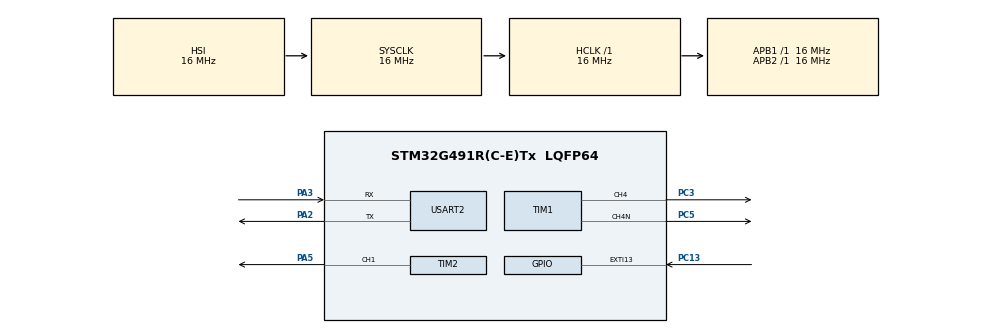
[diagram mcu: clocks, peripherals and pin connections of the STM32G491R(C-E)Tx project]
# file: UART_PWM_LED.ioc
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Mcu.Family=STM32G4
Mcu.Name=STM32G491R(C-E)Tx
Mcu.Package=LQFP64
NVIC.EXTI15_10_IRQn=true\:0\:0\:false\:false\:true\:true\:true\:true
NVIC.PriorityGroup=NVIC_PRIORITYGROUP_4
NVIC.USART2_IRQn=true\:0\:0\:false\:false\:true\:true\:true\:true
PA2.Mode=Asynchronous
PA2.Signal=USART2_TX
PA3.Mode=Asynchronous
PA3.Signal=USART2_RX
PA5.Signal=S_TIM2_CH1
PC13.GPIO_ModeDefaultEXTI=GPIO_MODE_IT_RISING
PC13.GPIO_PuPd=GPIO_PULLDOWN
PC13.Signal=GPXTI13
PC3.Signal=S_TIM1_CH4
PC5.Mode=PWM Generation4 CH4 CH4N
PC5.Signal=TIM1_CH4N
ProjectManager.HeapSize=0x200
ProjectManager.StackSize=0x400
ProjectManager.TargetToolchain=STM32CubeIDE
RCC.AHBFreq_Value=16000000
RCC.APB1Freq_Value=16000000
RCC.APB1TimFreq_Value=16000000
RCC.APB2Freq_Value=16000000
RCC.APB2TimFreq_Value=16000000
RCC.CortexFreq_Value=16000000
RCC.EXTERNAL_CLOCK_VALUE=12288000
RCC.HCLKFreq_Value=16000000
RCC.HSE_VALUE=8000000
RCC.HSI48_VALUE=48000000
RCC.HSI_VALUE=16000000
RCC.LSE_VALUE=32768
RCC.SYSCLKFreq_VALUE=16000000
RCC.VCOOutputFreq_Value=128000000
SH.S_TIM1_CH4.0=TIM1_CH4,PWM Generation4 CH4 CH4N
SH.S_TIM2_CH1.0=TIM2_CH1,PWM Generation1 CH1
TIM1.Channel-PWM\ Generation4\ CH4\ CH4N=TIM_CHANNEL_4
TIM2.AutoReloadPreload=TIM_AUTORELOAD_PRELOAD_ENABLE
TIM2.Channel-PWM\ Generation1\ CH1=TIM_CHANNEL_1
TIM2.PeriodNoDither=10000-1
TIM2.Prescaler=17-1
USART2.VirtualMode-Asynchronous=VM_ASYNC
VP_SYS_VS_DBSignals.Mode=DisableDeadBatterySignals
board=custom

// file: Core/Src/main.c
/* USER CODE BEGIN Header */
/**
  ******************************************************************************
  * @file           : main.c
  * @brief          : Main program body
  ******************************************************************************
  * @attention
  *
  * Copyright (c) 2025 STMicroelectronics.
  * All rights reserved.
  *
  * This software is licensed under terms that can be found in the LICENSE file
  * in the root directory of this software component.
  * If no LICENSE file comes with this software, it is provided AS-IS.
  *
  ******************************************************************************
  */
/* USER CODE END Header */
#include "main.h"

/* USER CODE BEGIN Includes */
#include <string.h>
#include <stdlib.h>
#include <stdio.h>
/* USER CODE END Includes */

/* USER CODE BEGIN PD */
#define RX_LINE_MAX 64
/* USER CODE END PD */

TIM_HandleTypeDef htim1;
TIM_HandleTypeDef htim2;

UART_HandleTypeDef huart2;

/* USER CODE BEGIN PV */
volatile uint8_t  rx_byte;
char  rx_line[RX_LINE_MAX];
volatile uint32_t rx_len = 0;
volatile uint8_t  rx_line_ready = 0;

volatile uint32_t pwm_duty = 0;  // duty cycle varijabla
/* USER CODE END PV */

void SystemClock_Config(void);
static void MX_GPIO_Init(void);
static void MX_TIM2_Init(void);
static void MX_USART2_UART_Init(void);
static void MX_TIM1_Init(void);

/* USER CODE BEGIN 0 */
static void UART_Start_RX_IT(void)
{
    HAL_UART_Receive_IT(&huart2, (uint8_t*)&rx_byte, 1);
}

void HAL_UART_RxCpltCallback(UART_HandleTypeDef *huart)
{
    if (huart == &huart2) {
        uint8_t b = rx_byte;

        if (b == '\r' || b == '\n') {
            if (rx_len < RX_LINE_MAX) rx_line[rx_len] = '\0';
            rx_line_ready = 1;
            rx_len = 0;
        } else {
            if (rx_len < RX_LINE_MAX - 1) rx_line[rx_len++] = (char)b;
            else rx_len = 0;
        }
        HAL_UART_Receive_IT(&huart2, &rx_byte, 1);
    }
}

void pwm_set_duty_percent(TIM_HandleTypeDef *htim, uint32_t channel, uint32_t pct)
{
    if (pct > 100) pct = 100;
    uint32_t arr = __HAL_TIM_GET_AUTORELOAD(htim);
    uint32_t ccr = ((arr + 1) * pct) / 100U;
    if (ccr > arr) ccr = arr;
    __HAL_TIM_SET_COMPARE(htim, channel, ccr);
}

void process_line(char *line)
{
    if (strncmp(line, "pwm", 3) == 0) {
        line += 3;
        while (*line == ' ' || *line == '\t') line++;
        int val = (*line) ? atoi(line) : -1;
        if (val < 0)   val = 0;
        if (val > 100) val = 100;

        pwm_duty = val;
        pwm_set_duty_percent(&htim2, TIM_CHANNEL_1, (uint32_t)val);

        char ack[32];
        int n = snprintf(ack, sizeof(ack), "OK pwm=%d%%\r\n", val);
        HAL_UART_Transmit(&huart2, (uint8_t*)ack, n, HAL_MAX_DELAY);
        return;
    }

    const char *err = "ERR: use 'pwm <0..100>'\r\n";
    HAL_UART_Transmit(&huart2, (uint8_t*)err, strlen(err), HAL_MAX_DELAY);
}

/* USER CODE END 0 */

int main(void)
{

  /* MCU Configuration--------------------------------------------------------*/

  /* Reset of all peripherals, Initializes the Flash interface and the Systick. */
  HAL_Init();

  /* Configure the system clock */
  SystemClock_Config();

  /* Initialize all configured peripherals */
  MX_GPIO_Init();
  MX_TIM2_Init();
  MX_USART2_UART_Init();
  MX_TIM1_Init();
  /* USER CODE BEGIN 2 */

  // Start PWM TImer - TIM2CH1
  HAL_TIM_PWM_Start(&htim2, TIM_CHANNEL_1);
  pwm_set_duty_percent(&htim2, TIM_CHANNEL_1, pwm_duty);

 UART_Start_RX_IT(); // Interrupt listening to UART

 // Test UART
 HAL_Delay(10); // Delay to debounce two executions of main
 const char *msg = "UART ready. Type 'pwm X' (X=0..100)\r\n";
 HAL_UART_Transmit(&huart2, (uint8_t*)msg, strlen(msg), HAL_MAX_DELAY);

  /* USER CODE END 2 */

  /* Infinite loop */
  while (1)
  {

    /* USER CODE BEGIN 3 */
	  if (rx_line_ready) {
	      __disable_irq();
	      char line[RX_LINE_MAX];
	      strncpy(line, rx_line, RX_LINE_MAX);
	      rx_line_ready = 0;
	      __enable_irq();

	      process_line(line);
	  }
  }
  /* USER CODE END 3 */
}

void SystemClock_Config(void)
{
  RCC_OscInitTypeDef RCC_OscInitStruct = {0};
  RCC_ClkInitTypeDef RCC_ClkInitStruct = {0};

  /** Configure the main internal regulator output voltage
  */
  HAL_PWREx_ControlVoltageScaling(PWR_REGULATOR_VOLTAGE_SCALE1);

  /** Initializes the RCC Oscillators according to the specified parameters
  * in the RCC_OscInitTypeDef structure.
  */
  RCC_OscInitStruct.OscillatorType = RCC_OSCILLATORTYPE_HSI;
  RCC_OscInitStruct.HSIState = RCC_HSI_ON;
  RCC_OscInitStruct.HSICalibrationValue = RCC_HSICALIBRATION_DEFAULT;
  RCC_OscInitStruct.PLL.PLLState = RCC_PLL_NONE;
  if (HAL_RCC_OscConfig(&RCC_OscInitStruct) != HAL_OK)
  {
    Error_Handler();
  }

  /** Initializes the CPU, AHB and APB buses clocks
  */
  RCC_ClkInitStruct.ClockType = RCC_CLOCKTYPE_HCLK|RCC_CLOCKTYPE_SYSCLK
                              |RCC_CLOCKTYPE_PCLK1|RCC_CLOCKTYPE_PCLK2;
  RCC_ClkInitStruct.SYSCLKSource = RCC_SYSCLKSOURCE_HSI;
  RCC_ClkInitStruct.AHBCLKDivider = RCC_SYSCLK_DIV1;
  RCC_ClkInitStruct.APB1CLKDivider = RCC_HCLK_DIV1;
  RCC_ClkInitStruct.APB2CLKDivider = RCC_HCLK_DIV1;

  if (HAL_RCC_ClockConfig(&RCC_ClkInitStruct, FLASH_LATENCY_0) != HAL_OK)
  {
    Error_Handler();
  }
}

static void MX_TIM1_Init(void)
{

  TIM_MasterConfigTypeDef sMasterConfig = {0};
  TIM_OC_InitTypeDef sConfigOC = {0};
  TIM_BreakDeadTimeConfigTypeDef sBreakDeadTimeConfig = {0};

  htim1.Instance = TIM1;
  htim1.Init.Prescaler = 0;
  htim1.Init.CounterMode = TIM_COUNTERMODE_UP;
  htim1.Init.Period = 65535;
  htim1.Init.ClockDivision = TIM_CLOCKDIVISION_DIV1;
  htim1.Init.RepetitionCounter = 0;
  htim1.Init.AutoReloadPreload = TIM_AUTORELOAD_PRELOAD_DISABLE;
  if (HAL_TIM_PWM_Init(&htim1) != HAL_OK)
  {
    Error_Handler();
  }
  sMasterConfig.MasterOutputTrigger = TIM_TRGO_RESET;
  sMasterConfig.MasterOutputTrigger2 = TIM_TRGO2_RESET;
  sMasterConfig.MasterSlaveMode = TIM_MASTERSLAVEMODE_DISABLE;
  if (HAL_TIMEx_MasterConfigSynchronization(&htim1, &sMasterConfig) != HAL_OK)
  {
    Error_Handler();
  }
  sConfigOC.OCMode = TIM_OCMODE_PWM1;
  sConfigOC.Pulse = 0;
  sConfigOC.OCPolarity = TIM_OCPOLARITY_HIGH;
  sConfigOC.OCNPolarity = TIM_OCNPOLARITY_HIGH;
  sConfigOC.OCFastMode = TIM_OCFAST_DISABLE;
  sConfigOC.OCIdleState = TIM_OCIDLESTATE_RESET;
  sConfigOC.OCNIdleState = TIM_OCNIDLESTATE_RESET;
  if (HAL_TIM_PWM_ConfigChannel(&htim1, &sConfigOC, TIM_CHANNEL_4) != HAL_OK)
  {
    Error_Handler();
  }
  sBreakDeadTimeConfig.OffStateRunMode = TIM_OSSR_DISABLE;
  sBreakDeadTimeConfig.OffStateIDLEMode = TIM_OSSI_DISABLE;
  sBreakDeadTimeConfig.LockLevel = TIM_LOCKLEVEL_OFF;
  sBreakDeadTimeConfig.DeadTime = 0;
  sBreakDeadTimeConfig.BreakState = TIM_BREAK_DISABLE;
  sBreakDeadTimeConfig.BreakPolarity = TIM_BREAKPOLARITY_HIGH;
  sBreakDeadTimeConfig.BreakFilter = 0;
  sBreakDeadTimeConfig.BreakAFMode = TIM_BREAK_AFMODE_INPUT;
  sBreakDeadTimeConfig.Break2State = TIM_BREAK2_DISABLE;
  sBreakDeadTimeConfig.Break2Polarity = TIM_BREAK2POLARITY_HIGH;
  sBreakDeadTimeConfig.Break2Filter = 0;
  sBreakDeadTimeConfig.Break2AFMode = TIM_BREAK_AFMODE_INPUT;
  sBreakDeadTimeConfig.AutomaticOutput = TIM_AUTOMATICOUTPUT_DISABLE;
  if (HAL_TIMEx_ConfigBreakDeadTime(&htim1, &sBreakDeadTimeConfig) != HAL_OK)
  {
    Error_Handler();
  }
  HAL_TIM_MspPostInit(&htim1);

}

static void MX_TIM2_Init(void)
{

  TIM_MasterConfigTypeDef sMasterConfig = {0};
  TIM_OC_InitTypeDef sConfigOC = {0};

  htim2.Instance = TIM2;
  htim2.Init.Prescaler = 17-1;
  htim2.Init.CounterMode = TIM_COUNTERMODE_UP;
  htim2.Init.Period = 9999;
  htim2.Init.ClockDivision = TIM_CLOCKDIVISION_DIV1;
  htim2.Init.AutoReloadPreload = TIM_AUTORELOAD_PRELOAD_ENABLE;
  if (HAL_TIM_PWM_Init(&htim2) != HAL_OK)
  {
    Error_Handler();
  }
  sMasterConfig.MasterOutputTrigger = TIM_TRGO_RESET;
  sMasterConfig.MasterSlaveMode = TIM_MASTERSLAVEMODE_DISABLE;
  if (HAL_TIMEx_MasterConfigSynchronization(&htim2, &sMasterConfig) != HAL_OK)
  {
    Error_Handler();
  }
  sConfigOC.OCMode = TIM_OCMODE_PWM1;
  sConfigOC.Pulse = 0;
  sConfigOC.OCPolarity = TIM_OCPOLARITY_HIGH;
  sConfigOC.OCFastMode = TIM_OCFAST_DISABLE;
  if (HAL_TIM_PWM_ConfigChannel(&htim2, &sConfigOC, TIM_CHANNEL_1) != HAL_OK)
  {
    Error_Handler();
  }
  HAL_TIM_MspPostInit(&htim2);

}

static void MX_USART2_UART_Init(void)
{

  huart2.Instance = USART2;
  huart2.Init.BaudRate = 115200;
  huart2.Init.WordLength = UART_WORDLENGTH_8B;
  huart2.Init.StopBits = UART_STOPBITS_1;
  huart2.Init.Parity = UART_PARITY_NONE;
  huart2.Init.Mode = UART_MODE_TX_RX;
  huart2.Init.HwFlowCtl = UART_HWCONTROL_NONE;
  huart2.Init.OverSampling = UART_OVERSAMPLING_16;
  huart2.Init.OneBitSampling = UART_ONE_BIT_SAMPLE_DISABLE;
  huart2.Init.ClockPrescaler = UART_PRESCALER_DIV1;
  huart2.AdvancedInit.AdvFeatureInit = UART_ADVFEATURE_NO_INIT;
  if (HAL_UART_Init(&huart2) != HAL_OK)
  {
    Error_Handler();
  }
  if (HAL_UARTEx_SetTxFifoThreshold(&huart2, UART_TXFIFO_THRESHOLD_1_8) != HAL_OK)
  {
    Error_Handler();
  }
  if (HAL_UARTEx_SetRxFifoThreshold(&huart2, UART_RXFIFO_THRESHOLD_1_8) != HAL_OK)
  {
    Error_Handler();
  }
  if (HAL_UARTEx_DisableFifoMode(&huart2) != HAL_OK)
  {
    Error_Handler();
  }

}

static void MX_GPIO_Init(void)
{
  GPIO_InitTypeDef GPIO_InitStruct = {0};

  /* GPIO Ports Clock Enable */
  __HAL_RCC_GPIOC_CLK_ENABLE();
  __HAL_RCC_GPIOA_CLK_ENABLE();

  /*Configure GPIO pin : PC13 */
  GPIO_InitStruct.Pin = GPIO_PIN_13;
  GPIO_InitStruct.Mode = GPIO_MODE_IT_RISING;
  GPIO_InitStruct.Pull = GPIO_PULLDOWN;
  HAL_GPIO_Init(GPIOC, &GPIO_InitStruct);

  /* EXTI interrupt init*/
  HAL_NVIC_SetPriority(EXTI15_10_IRQn, 0, 0);
  HAL_NVIC_EnableIRQ(EXTI15_10_IRQn);

}

/* USER CODE BEGIN 4 */
void HAL_GPIO_EXTI_Callback(uint16_t GPIO_Pin)
{
    if (GPIO_Pin == GPIO_PIN_13)
    {
        // --- debounce softverski ---
        static uint32_t last_press_ms = 0;
        uint32_t now = HAL_GetTick();

        // Ako je tipka stisnuta prebrzo zaredom (<200ms), ignoriraj
        if ((now - last_press_ms) < 200) {
            return;
        }
        last_press_ms = now;

        // --- promijeni duty ciklus ---
        pwm_duty += 10;
        if (pwm_duty > 100) {
            pwm_duty = 0;
        }

        // --- ažuriraj PWM output odmah ---
        pwm_set_duty_percent(&htim2, TIM_CHANNEL_1, pwm_duty);

        // --- (opcionalno) pošalji status na UART ---
        char buf[40];
        int n = snprintf(buf, sizeof(buf), "Duty changed by button = %lu%%\r\n", pwm_duty);
        HAL_UART_Transmit(&huart2, (uint8_t*)buf, n, HAL_MAX_DELAY);
    }
}
/* USER CODE END 4 */

void Error_Handler(void)
{
  __disable_irq();
  while (1)
  {
  }
}
